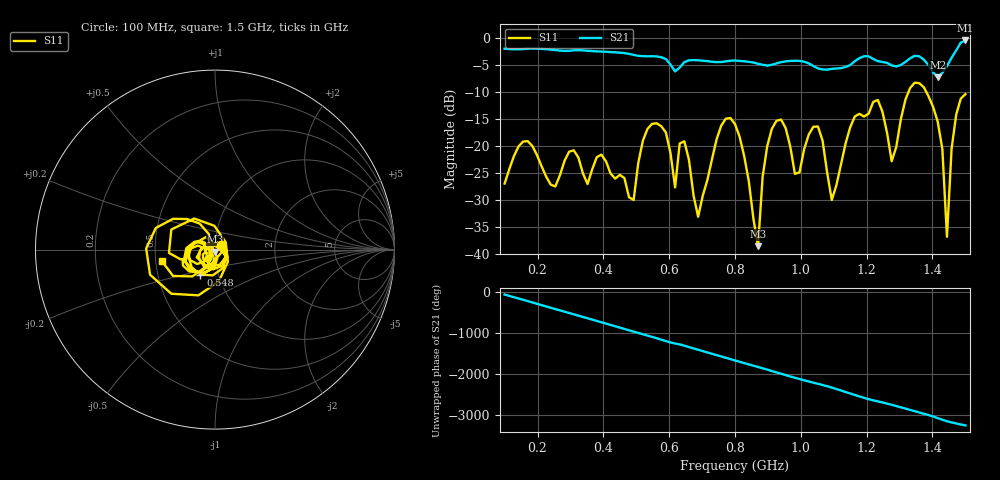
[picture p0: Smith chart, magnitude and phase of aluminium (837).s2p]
! NanoVNA-App
! Date: 2025-09-25 15:01:48
! Start: 100MHz Stop: 1,5GHz Points: 101
! S-Parameter data: F S11 S21 S12 S22
# Hz S RI R 50
!  Frequency  S11_Real  S11_Imag  S21_Real  S21_Imag  S12_Real  S12_Imag  S22_Real  S22_Imag
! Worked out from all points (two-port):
!   101 points, 100 MHz to 1.5 GHz, reference 50 ohm
!   highest |S21| = -0.39 dB at 1.5 GHz (marker M1); lowest = -7.3 dB at 1.416 GHz (marker M2)
!   |S21| within 3 dB of the highest: start of sweep to 565.7 MHz; 1.46 GHz to end of sweep (the widest 2 of 4)
!   lowest |S11| = -38.6 dB at 870 MHz (marker M3), VSWR 1.02, Z = 50 - j1.18 ohm
!   |S11| at or under -10 dB: start of sweep to 1.327 GHz; 1.382 GHz to end of sweep
!   S12 and S22 are empty: the file has one direction only
!   S11 on the Smith chart (normalised r, x): 100 MHz: 1.07, +0.06; 548 MHz: 0.82, -0.23; 1.5 GHz: 0.54, -0.08
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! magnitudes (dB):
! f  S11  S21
! 100 MHz  -27.0  -1.9
! 156 MHz  -19.2  -2.0
! 338 MHz  -25.1  -2.2
! 492 MHz  -30.0  -3.1
! 548 MHz  -15.9  -3.3
! 576 MHz  -16.3  -3.5
! 618 MHz  -27.7  -6.1
! 646 MHz  -19.1  -4.4
! 688 MHz  -33.1  -4.1
! 800 MHz  -15.9  -4.1
! 870 MHz  -38.6  -4.7
! 912 MHz  -16.8  -4.9
! 982 MHz  -25.2  -4.2
! 1.038 GHz  -16.4  -5.1
! 1.094 GHz  -30.0  -5.7
! 1.22 GHz  -11.8  -3.8
! 1.276 GHz  -22.8  -5.0
! 1.346 GHz  -8.2  -3.2
! 1.416 GHz  -15.5  -7.3
! 1.444 GHz  -36.8  -5.2
! 1.458 GHz  -20.5  -3.6
! 1.5 GHz  -10.4  -0.4
